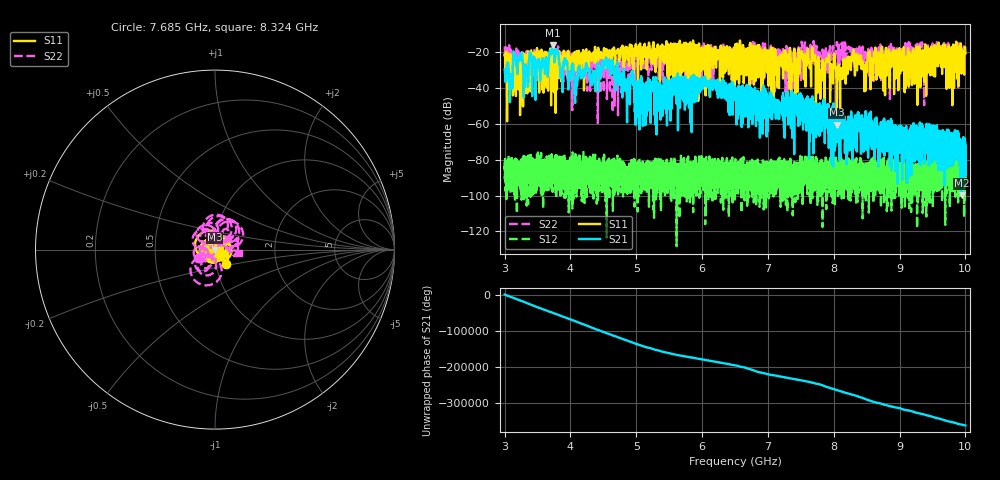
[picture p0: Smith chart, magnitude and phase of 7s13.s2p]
!Agilent Technologies,E8363B,MY43030572,A.06.04.32
!Agilent E8363B: A.06.04.32
!Date: Tuesday, June 07, 2011 08:51:55
!Correction: S11(Full 2 Port(1,2)) S21(Full 2 Port(1,2)) S12(Full 2 Port(1,2)) S22(Full 2 Port(1,2))
!S2P File: Measurements: S11, S21, S12, S22:
# Hz S  dB  R 50
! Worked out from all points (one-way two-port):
!   6401 points, 3 GHz to 10 GHz, reference 50 ohm
!   highest |S21| = -16.05 dB at 3.732 GHz (marker M1); lowest = -99.9 dB at 9.943 GHz (marker M2)
!   lowest |S11| = -60.4 dB at 8.047 GHz (marker M3), VSWR 1.00, Z = 49.9 + j0.0387 ohm
!   |S11| at or under -10 dB: start of sweep to end of sweep
!   |S22| runs from -59.4 to -13.6 dB; largest |S21 - S12| = 0.16
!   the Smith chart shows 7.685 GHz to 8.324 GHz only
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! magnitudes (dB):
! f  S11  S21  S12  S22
! 3 GHz  -21.6  -29.6  -83.9  -16.6
! 3.091 GHz  -21.7  -35.8  -83.6  -19.9
! 3.242 GHz  -25.4  -22.2  -82.7  -29.8
! 3.323 GHz  -33.2  -28.7  -95.5  -21.8
! 3.732 GHz  -25.1  -16.1  -91.7  -23.1
! 4.078 GHz  -19.9  -37.8  -82.8  -29.0
! 4.167 GHz  -21.6  -32.2  -84.9  -24.8
! 4.348 GHz  -20.2  -32.6  -83.2  -24.7
! 4.561 GHz  -24.4  -27.5  -97.7  -28.6
! 4.941 GHz  -23.8  -32.4  -88.7  -19.6
! 5.015 GHz  -17.4  -38.8  -82.7  -19.1
! 5.334 GHz  -19.2  -42.2  -81.6  -26.6
! 6.014 GHz  -19.6  -38.2  -88.2  -25.6
! 6.5 GHz  -18.9  -43.7  -87.0  -22.8
! 7.353 GHz  -32.1  -43.8  -85.3  -19.7
! 7.667 GHz  -18.8  -51.2  -84.9  -17.2
! 8.047 GHz  -60.4  -62.2  -81.2  -14.4
! 8.276 GHz  -23.3  -61.4  -86.5  -18.7
! 8.475 GHz  -28.8  -64.6  -88.8  -21.8
! 8.834 GHz  -19.6  -61.2  -98.6  -21.2
! 9.943 GHz  -26.3  -99.9  -93.9  -18.4
! 10 GHz  -20.6  -72.1  -90.9  -21.1
